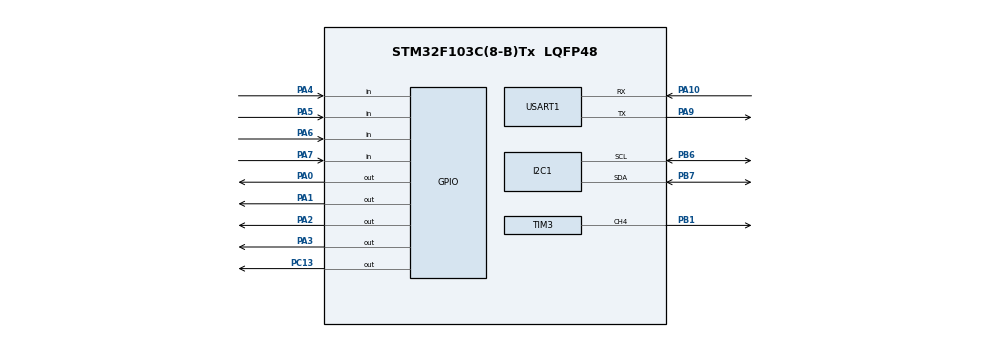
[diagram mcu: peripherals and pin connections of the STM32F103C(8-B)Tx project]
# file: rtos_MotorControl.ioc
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Mcu.Family=STM32F1
Mcu.Name=STM32F103C(8-B)Tx
Mcu.Package=LQFP48
NVIC.PriorityGroup=NVIC_PRIORITYGROUP_4
NVIC.TIM4_IRQn=true\:15\:0\:false\:false\:true\:false\:true\:true
NVIC.TimeBase=TIM4_IRQn
NVIC.TimeBaseIP=TIM4
PA0-WKUP.Signal=GPIO_Output
PA1.Signal=GPIO_Output
PA10.Mode=Asynchronous
PA10.Signal=USART1_RX
PA2.Signal=GPIO_Output
PA3.Signal=GPIO_Output
PA4.Signal=GPIO_Input
PA5.Signal=GPIO_Input
PA6.Signal=GPIO_Input
PA7.Signal=GPIO_Input
PA9.Mode=Asynchronous
PA9.Signal=USART1_TX
PB1.Signal=S_TIM3_CH4
PB6.Mode=I2C
PB6.Signal=I2C1_SCL
PB7.Mode=I2C
PB7.Signal=I2C1_SDA
PC13-TAMPER-RTC.Signal=GPIO_Output
ProjectManager.HeapSize=0x200
ProjectManager.StackSize=0x400
ProjectManager.TargetToolchain=STM32CubeIDE
RCC.APB1Freq_Value=8000000
RCC.APB2Freq_Value=8000000
SH.S_TIM3_CH4.0=TIM3_CH4,PWM Generation4 CH4
TIM3.Channel-PWM\ Generation4\ CH4=TIM_CHANNEL_4
TIM3.Period=100-1
TIM3.Prescaler=8-1
USART1.VirtualMode=VM_ASYNC
VP_SYS_VS_ND.Mode=No_Debug
VP_SYS_VS_tim4.Mode=TIM4
VP_TIM3_VS_ClockSourceINT.Mode=Internal
board=custom

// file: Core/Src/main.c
/* USER CODE BEGIN Header */
/**
  ******************************************************************************
  * @file           : main.c
  * @brief          : Main program body
  ******************************************************************************
  * @attention
  *
  * Copyright (c) 2025 STMicroelectronics.
  * All rights reserved.
  *
  * This software is licensed under terms that can be found in the LICENSE file
  * in the root directory of this software component.
  * If no LICENSE file comes with this software, it is provided AS-IS.
  *
  ******************************************************************************
  */
/* USER CODE END Header */
#include "main.h"

/* USER CODE BEGIN Includes */

#include "keypad.h"
#include "lcd.h"

#include "FreeRTOS.h"
#include "task.h"
#include "queue.h"
#include "semphr.h"
/* USER CODE END Includes */

I2C_HandleTypeDef hi2c1;

TIM_HandleTypeDef htim3;

UART_HandleTypeDef huart1;

void SystemClock_Config(void);
static void MX_GPIO_Init(void);
static void MX_USART1_UART_Init(void);
static void MX_I2C1_Init(void);
static void MX_TIM3_Init(void);
/* USER CODE BEGIN PFP */
void keypad_handler(void *pvparameter);
void pwm_handler(void *pvparameter);
void uart_handler(void *pvparameter);
void lcd_handler(void *pvparameter);
/* USER CODE END PFP */

/* USER CODE BEGIN 0 */
TaskHandle_t keypad_handle,pwm_handle,uart_handle,lcd_handle;

QueueHandle_t lcdData_handle ;
SemaphoreHandle_t sema_keypad;
SemaphoreHandle_t mutex_speed;

uint8_t speed[3]={'0','0','0'}; // for standard project use queue data structure
int percentage =0;

typedef enum{
	Command_LCD,
	Upper_limit_LCD,
	leftData_LCD,
	CenterData_LCD,
	RightData_LCD
}LCD_t;
LCD_t LCD_DC;
/* USER CODE END 0 */

int main(void)
{

  /* USER CODE BEGIN 1 */
	BaseType_t status;
  /* USER CODE END 1 */

  /* MCU Configuration--------------------------------------------------------*/

  /* Reset of all peripherals, Initializes the Flash interface and the Systick. */
  HAL_Init();

  /* Configure the system clock */
  SystemClock_Config();

  /* Initialize all configured peripherals */
  MX_GPIO_Init();
  MX_USART1_UART_Init();
  MX_I2C1_Init();
  MX_TIM3_Init();
  /* USER CODE BEGIN 2 */

    HAL_GPIO_WritePin(GPIOC, GPIO_PIN_13, 1);
   // HAL_GPIO_WritePin(GPIOA, GPIO_PIN_0 | GPIO_PIN_1 | GPIO_PIN_2 | GPIO_PIN_3 , 0);

    HAL_TIM_PWM_Start(&htim3, TIM_CHANNEL_4);
    TIM3->CCR4=0;
    lcd_init();
    lcd_write_data4bitmode('0');
    lcd_write_data4bitmode('0');
    lcd_write_data4bitmode('0');
    lcd_write_command4bitmode(0x80);

		status = xTaskCreate(keypad_handler, "keypad_task", 300, NULL, 4, &keypad_handle);
		configASSERT(status == pdPASS);
		status = xTaskCreate(pwm_handler, "pwm_task",200, NULL, 3, &pwm_handle);
		configASSERT(status == pdPASS);
		status = xTaskCreate(uart_handler, "uart_task",200, NULL, 2, &uart_handle);
		configASSERT(status == pdPASS);
		status = xTaskCreate(lcd_handler, "lcd_task",200, NULL, 1, &lcd_handle);
		configASSERT(status == pdPASS);
//
		lcdData_handle = xQueueCreate(1,sizeof(char));
	sema_keypad = xSemaphoreCreateBinary();
	    mutex_speed = xSemaphoreCreateMutex();
//
    vTaskStartScheduler();
  /* USER CODE END 2 */

  /* Infinite loop */
  while (1)
  {

  }
}

void SystemClock_Config(void)
{
  RCC_OscInitTypeDef RCC_OscInitStruct = {0};
  RCC_ClkInitTypeDef RCC_ClkInitStruct = {0};

  /** Initializes the RCC Oscillators according to the specified parameters
  * in the RCC_OscInitTypeDef structure.
  */
  RCC_OscInitStruct.OscillatorType = RCC_OSCILLATORTYPE_HSI;
  RCC_OscInitStruct.HSIState = RCC_HSI_ON;
  RCC_OscInitStruct.HSICalibrationValue = RCC_HSICALIBRATION_DEFAULT;
  RCC_OscInitStruct.PLL.PLLState = RCC_PLL_NONE;
  if (HAL_RCC_OscConfig(&RCC_OscInitStruct) != HAL_OK)
  {
    Error_Handler();
  }

  /** Initializes the CPU, AHB and APB buses clocks
  */
  RCC_ClkInitStruct.ClockType = RCC_CLOCKTYPE_HCLK|RCC_CLOCKTYPE_SYSCLK
                              |RCC_CLOCKTYPE_PCLK1|RCC_CLOCKTYPE_PCLK2;
  RCC_ClkInitStruct.SYSCLKSource = RCC_SYSCLKSOURCE_HSI;
  RCC_ClkInitStruct.AHBCLKDivider = RCC_SYSCLK_DIV1;
  RCC_ClkInitStruct.APB1CLKDivider = RCC_HCLK_DIV1;
  RCC_ClkInitStruct.APB2CLKDivider = RCC_HCLK_DIV1;

  if (HAL_RCC_ClockConfig(&RCC_ClkInitStruct, FLASH_LATENCY_0) != HAL_OK)
  {
    Error_Handler();
  }
}

static void MX_I2C1_Init(void)
{

  hi2c1.Instance = I2C1;
  hi2c1.Init.ClockSpeed = 100000;
  hi2c1.Init.DutyCycle = I2C_DUTYCYCLE_2;
  hi2c1.Init.OwnAddress1 = 0;
  hi2c1.Init.AddressingMode = I2C_ADDRESSINGMODE_7BIT;
  hi2c1.Init.DualAddressMode = I2C_DUALADDRESS_DISABLE;
  hi2c1.Init.OwnAddress2 = 0;
  hi2c1.Init.GeneralCallMode = I2C_GENERALCALL_DISABLE;
  hi2c1.Init.NoStretchMode = I2C_NOSTRETCH_DISABLE;
  if (HAL_I2C_Init(&hi2c1) != HAL_OK)
  {
    Error_Handler();
  }

}

static void MX_TIM3_Init(void)
{

  TIM_ClockConfigTypeDef sClockSourceConfig = {0};
  TIM_MasterConfigTypeDef sMasterConfig = {0};
  TIM_OC_InitTypeDef sConfigOC = {0};

  htim3.Instance = TIM3;
  htim3.Init.Prescaler = 8-1;
  htim3.Init.CounterMode = TIM_COUNTERMODE_UP;
  htim3.Init.Period = 100-1;
  htim3.Init.ClockDivision = TIM_CLOCKDIVISION_DIV1;
  htim3.Init.AutoReloadPreload = TIM_AUTORELOAD_PRELOAD_DISABLE;
  if (HAL_TIM_Base_Init(&htim3) != HAL_OK)
  {
    Error_Handler();
  }
  sClockSourceConfig.ClockSource = TIM_CLOCKSOURCE_INTERNAL;
  if (HAL_TIM_ConfigClockSource(&htim3, &sClockSourceConfig) != HAL_OK)
  {
    Error_Handler();
  }
  if (HAL_TIM_PWM_Init(&htim3) != HAL_OK)
  {
    Error_Handler();
  }
  sMasterConfig.MasterOutputTrigger = TIM_TRGO_RESET;
  sMasterConfig.MasterSlaveMode = TIM_MASTERSLAVEMODE_DISABLE;
  if (HAL_TIMEx_MasterConfigSynchronization(&htim3, &sMasterConfig) != HAL_OK)
  {
    Error_Handler();
  }
  sConfigOC.OCMode = TIM_OCMODE_PWM1;
  sConfigOC.Pulse = 0;
  sConfigOC.OCPolarity = TIM_OCPOLARITY_HIGH;
  sConfigOC.OCFastMode = TIM_OCFAST_DISABLE;
  if (HAL_TIM_PWM_ConfigChannel(&htim3, &sConfigOC, TIM_CHANNEL_4) != HAL_OK)
  {
    Error_Handler();
  }
  HAL_TIM_MspPostInit(&htim3);

}

static void MX_USART1_UART_Init(void)
{

  huart1.Instance = USART1;
  huart1.Init.BaudRate = 115200;
  huart1.Init.WordLength = UART_WORDLENGTH_8B;
  huart1.Init.StopBits = UART_STOPBITS_1;
  huart1.Init.Parity = UART_PARITY_NONE;
  huart1.Init.Mode = UART_MODE_TX_RX;
  huart1.Init.HwFlowCtl = UART_HWCONTROL_NONE;
  huart1.Init.OverSampling = UART_OVERSAMPLING_16;
  if (HAL_UART_Init(&huart1) != HAL_OK)
  {
    Error_Handler();
  }

}

static void MX_GPIO_Init(void)
{
  GPIO_InitTypeDef GPIO_InitStruct = {0};

  /* GPIO Ports Clock Enable */
  __HAL_RCC_GPIOC_CLK_ENABLE();
  __HAL_RCC_GPIOA_CLK_ENABLE();
  __HAL_RCC_GPIOB_CLK_ENABLE();

  /*Configure GPIO pin Output Level */
  HAL_GPIO_WritePin(GPIOC, GPIO_PIN_13, GPIO_PIN_RESET);

  /*Configure GPIO pin Output Level */
  HAL_GPIO_WritePin(GPIOA, GPIO_PIN_0|GPIO_PIN_1|GPIO_PIN_2|GPIO_PIN_3, GPIO_PIN_RESET);

  /*Configure GPIO pin : PC13 */
  GPIO_InitStruct.Pin = GPIO_PIN_13;
  GPIO_InitStruct.Mode = GPIO_MODE_OUTPUT_PP;
  GPIO_InitStruct.Pull = GPIO_NOPULL;
  GPIO_InitStruct.Speed = GPIO_SPEED_FREQ_LOW;
  HAL_GPIO_Init(GPIOC, &GPIO_InitStruct);

  /*Configure GPIO pins : PA0 PA1 PA2 PA3 */
  GPIO_InitStruct.Pin = GPIO_PIN_0|GPIO_PIN_1|GPIO_PIN_2|GPIO_PIN_3;
  GPIO_InitStruct.Mode = GPIO_MODE_OUTPUT_PP;
  GPIO_InitStruct.Pull = GPIO_NOPULL;
  GPIO_InitStruct.Speed = GPIO_SPEED_FREQ_LOW;
  HAL_GPIO_Init(GPIOA, &GPIO_InitStruct);

  /*Configure GPIO pins : PA4 PA5 PA6 PA7 */
  GPIO_InitStruct.Pin = GPIO_PIN_4|GPIO_PIN_5|GPIO_PIN_6|GPIO_PIN_7;
  GPIO_InitStruct.Mode = GPIO_MODE_INPUT;
  GPIO_InitStruct.Pull = GPIO_NOPULL;
  HAL_GPIO_Init(GPIOA, &GPIO_InitStruct);

  /* USER CODE BEGIN MX_GPIO_Init_2 */
  //HAL_NVIC_DisableIRQ(EXTI4_IRQn);
  //HAL_NVIC_DisableIRQ(EXTI9_5_IRQn);
  /* USER CODE END MX_GPIO_Init_2 */
}

/* USER CODE BEGIN 4 */

//void HAL_GPIO_EXTI_Callback(uint16_t GPIO_Pin)
//{
//   //BaseType_t xHigherPriorityTaskWoken = pdFALSE;
//   //xSemaphoreGiveFromISR(sema_keypad,&xHigherPriorityTaskWoken);
//  xSemaphoreGiveFromISR(sema_keypad,NULL);
//  HAL_UART_Transmit(&huart1, "Hi", 2, 1000);
//   //portYIELD_FROM_ISR( xHigherPriorityTaskWoken );
//}

void keypad_handler(void *pvparameter)
{
	  uint8_t data;
	  uint8_t pos = 0x80;uint8_t uart_flag=0;
	  int digit=0;
	while(1){
		//xSemaphoreTake(sema_keypad,portMAX_DELAY);

		//taskENTER_CRITICAL();
		if(button_pressed()==1)
		{

		  HAL_GPIO_WritePin(GPIOC, GPIO_PIN_13, 0);
		  data= whichkey();
  //		  HAL_UART_Transmit(&huart1, &data, 1, 1000);
  //		  HAL_UART_Transmit(&huart1, "\n\r", 2, 1000);

		  switch (data){
			case '*':
				if(digit>0){//1,2
					if(digit ==1){
						pos =0x80;
						xQueueSendToBack(lcdData_handle,&pos,0);
						LCD_DC = Command_LCD;
						xTaskNotify(lcd_handle,LCD_DC,eSetValueWithOverwrite);
						//lcd_write_command4bitmode(0x80);
					}
					else if(digit ==2){
						pos =0x81;
						xQueueSendToBack(lcdData_handle,&pos,0);
						LCD_DC = Command_LCD;
						xTaskNotify(lcd_handle,LCD_DC,eSetValueWithOverwrite);
						//lcd_write_command4bitmode(0x81);
					}
					digit--;
				}
				break;
			case '#':
				if(digit<2){//0,1
					if(digit ==1){
						pos =0x82;
						xQueueSendToBack(lcdData_handle,&pos,0);
						LCD_DC = Command_LCD;
						xTaskNotify(lcd_handle,LCD_DC,eSetValueWithOverwrite);
						//lcd_write_command4bitmode(0x82);
					}
					else if(digit ==0){
						pos =0x81;
						xQueueSendToBack(lcdData_handle,&pos,0);
						LCD_DC = Command_LCD;
						xTaskNotify(lcd_handle,LCD_DC,eSetValueWithOverwrite);
						//lcd_write_command4bitmode(0x81);
					}
					digit++;
				}
				break;
			case 'D':
				percentage = (speed[0]-0x30)*100 + (speed[1]-0x30)*10 + (speed[2]-0x30) ;
				if(percentage> 100){
					xSemaphoreTake(mutex_speed,portMAX_DELAY);
					speed[0]='1';speed[1]='0';speed[2]='0';
					xSemaphoreGive(mutex_speed);
					percentage = 100 ;
					digit = 0;
					LCD_DC = Upper_limit_LCD;
					xTaskNotify(lcd_handle,LCD_DC,eSetValueWithOverwrite);
//					lcd_write_command4bitmode(0x80);
//					lcd_write_data4bitmode('1');
//					lcd_write_data4bitmode('0');
//					lcd_write_data4bitmode('0');
//					lcd_write_command4bitmode(0x80);
				}
				 xTaskNotify(pwm_handle,0,eNoAction);
//				 TIM3->CCR4=percentage;
				 uart_flag =1;
				 xTaskNotify(uart_handle,uart_flag,eSetValueWithOverwrite);
//				 HAL_UART_Transmit(&huart1, speed, 3, 1000);
//				 HAL_UART_Transmit(&huart1, "\n\r", 2, 1000);

				break;
			default:
				if(data>='0'&&data<='9'){
					xSemaphoreTake(mutex_speed,portMAX_DELAY);
					speed[digit] = data ;
					xSemaphoreGive(mutex_speed);
					xTaskNotify(uart_handle,speed[digit],eSetValueWithOverwrite);
//					HAL_UART_Transmit(&huart1, &speed[digit], 1, 1000);
					//HAL_UART_Transmit(&huart1, &percentage, 1, 1000);

					xQueueSendToBack(lcdData_handle,&speed[digit],0);
					LCD_DC = digit+leftData_LCD;
					xTaskNotify(lcd_handle,LCD_DC,eSetValueWithOverwrite);

//					lcd_write_data4bitmode(speed[digit]);
//					lcd_write_command4bitmode(0x80|digit);
				}
				//task notify two array -> digit,
				break;
		  }//switch case
		  //taskEXIT_CRITICAL();
		  }//button press

		vTaskDelay(50);

	}
}

void pwm_handler(void *pvparameter)
{

	while(1){
		xTaskNotifyWait(0,0,NULL,portMAX_DELAY);
		TIM3->CCR4=percentage;
		//TIM3->CCR4=percentage;
		//xSemaphoreGive(s_work);
	}

}

void uart_handler(void *pvparameter)
{
	uint32_t data ;
	while(1){
		xTaskNotifyWait(0,0,&data,portMAX_DELAY);
		if(data == 1){
			xSemaphoreTake(mutex_speed,portMAX_DELAY);
			HAL_UART_Transmit(&huart1, speed, 3, 1000);
			xSemaphoreGive(mutex_speed);
			HAL_UART_Transmit(&huart1, "\n\r", 2, 1000);
		}
		else{
			xSemaphoreTake(mutex_speed,portMAX_DELAY);
			HAL_UART_Transmit(&huart1, &data, 1, 1000);
			xSemaphoreGive(mutex_speed);
		}
	}
}

void lcd_handler(void *pvparameter)
{
	uint32_t work ;
	uint8_t data ;
	while(1){
		xTaskNotifyWait(0,0,&work,portMAX_DELAY);
		HAL_UART_Transmit(&huart1, &work, 1, 1000);
		if(work == leftData_LCD){
			xQueueReceive(lcdData_handle, &data,portMAX_DELAY);
			lcd_write_data4bitmode(data);
			lcd_write_command4bitmode(0x80);
		}
		else if(work == CenterData_LCD){
			xQueueReceive(lcdData_handle, &data,portMAX_DELAY);
			lcd_write_data4bitmode(data);
			lcd_write_command4bitmode(0x81);
		}
		else if(work == RightData_LCD){
			xQueueReceive(lcdData_handle, &data,portMAX_DELAY);
			lcd_write_data4bitmode(data);
			lcd_write_command4bitmode(0x82);
		}
		else if(work == Command_LCD){
			xQueueReceive(lcdData_handle, &data,portMAX_DELAY);
			lcd_write_command4bitmode(data);
		}
		else if(work == Upper_limit_LCD){
			lcd_write_command4bitmode(0x80);
			lcd_write_data4bitmode('1');
			lcd_write_data4bitmode('0');
			lcd_write_data4bitmode('0');
			lcd_write_command4bitmode(0x80);
		}
//		xSemaphoreTake(mutex_1,portMAX_DELAY);
//		count++;
//		inttostr();
//		HAL_UART_Transmit(&huart1, task3, 6, 100);
//		HAL_UART_Transmit(&huart1, stringCount, 7, 100);
//		xSemaphoreGive(mutex_1);
//
//		vTaskDelay(pdMS_TO_TICKS(1000));
		//xSemaphoreGive(s_work);
	}
}
/* USER CODE END 4 */

void HAL_TIM_PeriodElapsedCallback(TIM_HandleTypeDef *htim)
{
  if (htim->Instance == TIM4)
  {
    HAL_IncTick();
  }
}

void Error_Handler(void)
{
  __disable_irq();
  while (1)
  {
  }
}
